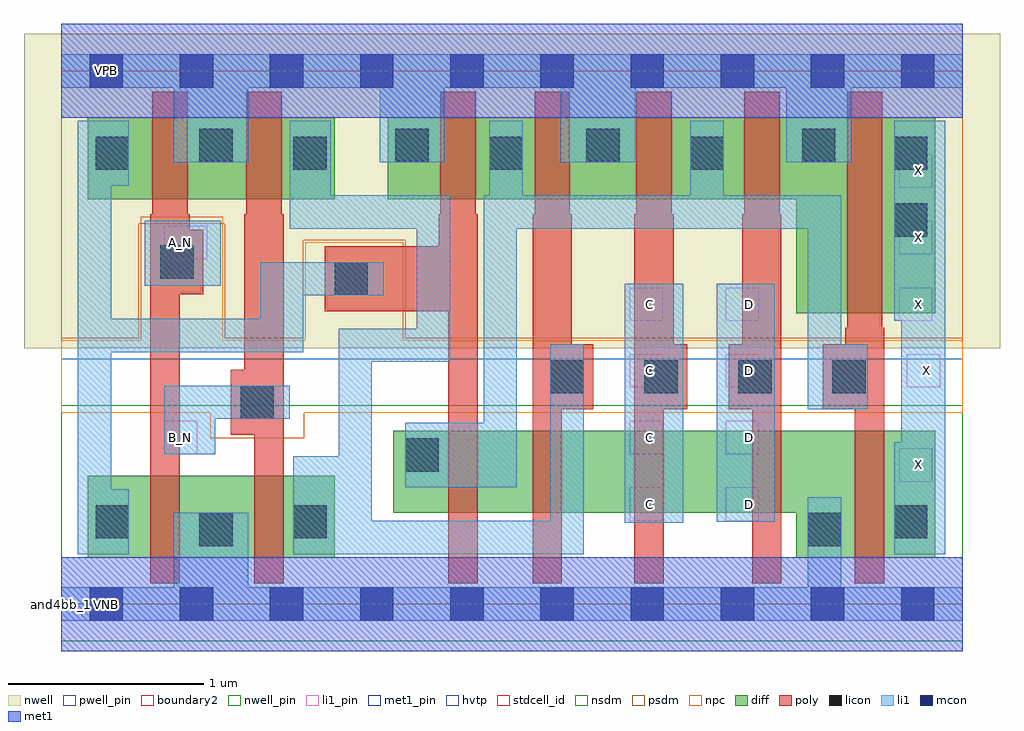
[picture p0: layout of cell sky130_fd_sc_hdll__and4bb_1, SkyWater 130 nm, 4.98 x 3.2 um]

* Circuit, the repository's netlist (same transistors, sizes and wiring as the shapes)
* Copyright 2020 The SkyWater PDK Authors
*
* Licensed under the Apache License, Version 2.0 (the "License");
* you may not use this file except in compliance with the License.
* You may obtain a copy of the License at
*
*     https://www.apache.org/licenses/LICENSE-2.0
*
* Unless required by applicable law or agreed to in writing, software
* distributed under the License is distributed on an "AS IS" BASIS,
* WITHOUT WARRANTIES OR CONDITIONS OF ANY KIND, either express or implied.
* See the License for the specific language governing permissions and
* limitations under the License.
*
* SPDX-License-Identifier: Apache-2.0

.SUBCKT sky130_fd_sc_hdll__and4bb_1 A_N B_N C D VGND VNB VPB VPWR X
*.PININFO A_N:I B_N:I C:I D:I VGND:I VNB:I VPB:I VPWR:I X:O
MMP0 y A VPWR VPB sky130_fd_pr__pfet_01v8_hvt m=1 w=0.42U l=0.18U mult=1 sa=0.265
+ sb=0.265 sd=0.28 area=0.063 perim=1.14
MMP1 y B VPWR VPB sky130_fd_pr__pfet_01v8_hvt m=1 w=0.42U l=0.18U mult=1 sa=0.265
+ sb=0.265 sd=0.28 area=0.063 perim=1.14
MMP2 y C VPWR VPB sky130_fd_pr__pfet_01v8_hvt m=1 w=0.42U l=0.18U mult=1 sa=0.265
+ sb=0.265 sd=0.28 area=0.063 perim=1.14
MMP3 y D VPWR VPB sky130_fd_pr__pfet_01v8_hvt m=1 w=0.42U l=0.18U mult=1 sa=0.265
+ sb=0.265 sd=0.28 area=0.063 perim=1.14
MMIP0 A A_N VPWR VPB sky130_fd_pr__pfet_01v8_hvt m=1 w=0.42U l=0.18U mult=1 sa=0.265
+ sb=0.265 sd=0.28 area=0.063 perim=1.14
MMIP1 B B_N VPWR VPB sky130_fd_pr__pfet_01v8_hvt m=1 w=0.42U l=0.18U mult=1 sa=0.265
+ sb=0.265 sd=0.28 area=0.063 perim=1.14
MMIP2 X y VPWR VPB sky130_fd_pr__pfet_01v8_hvt m=1 w=1.0U l=0.18U mult=1 sa=0.265
+ sb=0.265 sd=0.28 area=0.063 perim=1.14
MMN0 y A sndA VNB sky130_fd_pr__nfet_01v8 m=1 w=0.42U l=0.15U mult=1 sa=0.265 sb=0.265
+ sd=0.28 area=0.063 perim=1.14
MMN1 sndA B sndB VNB sky130_fd_pr__nfet_01v8 m=1 w=0.42U l=0.15U mult=1 sa=0.265
+ sb=0.265 sd=0.28 area=0.063 perim=1.14
MMN2 sndB C sndC VNB sky130_fd_pr__nfet_01v8 m=1 w=0.42U l=0.15U mult=1 sa=0.265
+ sb=0.265 sd=0.28 area=0.063 perim=1.14
MMN3 sndC D VGND VNB sky130_fd_pr__nfet_01v8 m=1 w=0.42U l=0.15U mult=1 sa=0.265
+ sb=0.265 sd=0.28 area=0.063 perim=1.14
MMIN0 A A_N VGND VNB sky130_fd_pr__nfet_01v8 m=1 w=0.42U l=0.15U mult=1 sa=0.265
+ sb=0.265 sd=0.28 area=0.063 perim=1.14
MMIN1 B B_N VGND VNB sky130_fd_pr__nfet_01v8 m=1 w=0.42U l=0.15U mult=1 sa=0.265
+ sb=0.265 sd=0.28 area=0.063 perim=1.14
MMIN2 X y VGND VNB sky130_fd_pr__nfet_01v8 m=1 w=0.65U l=0.15U mult=1 sa=0.265
+ sb=0.265 sd=0.28 area=0.063 perim=1.14
.ENDS sky130_fd_sc_hdll__and4bb_1

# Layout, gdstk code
import gdstk
lib = gdstk.Library(unit=1e-6, precision=1e-09)
def R(c, l, rs):  # rectangles x0, y0, x1, y1
    for r in rs: c.add(gdstk.rectangle(r[:2], r[2:], *l))
def A(c, l, x, y, w, h, nx, ny, dx, dy):  # array of equal rectangles
    R(c, l, [(x+i*dx, y+j*dy, x+i*dx+w, y+j*dy+h) for i in range(nx) for j in range(ny)])
def P(c, l, *ps):  # polygons
    for p in ps: c.add(gdstk.Polygon(p, *l))
nwell_pin = (64, 16)
nwell = (64, 20)
diff = (65, 20)
poly = (66, 20)
licon = (66, 44)
li1_pin = (67, 16)
li1 = (67, 20)
mcon = (67, 44)
met1_pin = (68, 16)
met1 = (68, 20)
hvtp = (78, 44)
stdcell_id = (81, 4)
nsdm = (93, 44)
psdm = (94, 20)
npc = (95, 20)
pwell_pin = (122, 16)
boundary2 = (236, 0)

sky130_fd_sc_hdll__and4b = lib.new_cell('sky130_fd_sc_hdll__and4bb_1')
R(sky130_fd_sc_hdll__and4b, nwell_pin, [(0.145,2.635,0.315,2.805)])
R(sky130_fd_sc_hdll__and4b, nwell, [(-0.19,1.305,4.79,2.91)])
R(sky130_fd_sc_hdll__and4b, diff, [(0.135,0.235,1.395,0.655), (0.135,2.065,1.395,2.485)])
P(sky130_fd_sc_hdll__and4b, diff, [(4.46,2.485),(1.665,2.485),(1.665,2.065),(3.75,2.065),(3.75,1.485),(4.46,1.485)],
  [(4.46,0.885),(1.695,0.885),(1.695,0.465),(3.75,0.465),(3.75,0.235),(4.46,0.235)])
P(sky130_fd_sc_hdll__and4b, poly, [(0.725,1.91),(0.655,1.91),(0.655,1.99),(0.645,1.99),(0.645,2.615),(0.465,2.615),(0.465,1.99),(0.455,1.99),(0.455,0.105),(0.605,0.105),(0.605,1.58),(0.725,1.58)],
  [(1.135,1.99),(1.125,1.99),(1.125,2.615),(0.945,2.615),(0.945,1.99),(0.935,1.99),(0.935,1.195),(0.865,1.195),(0.865,0.865),(0.985,0.865),(0.985,0.105),(1.135,0.105)],
  [(2.125,1.99),(2.115,1.99),(2.115,2.615),(1.935,2.615),(1.935,1.99),(1.925,1.99),(1.925,1.825),(1.345,1.825),(1.345,1.495),(1.975,1.495),(1.975,0.105),(2.125,0.105)],
  [(2.715,1.325),(2.605,1.325),(2.605,1.99),(2.595,1.99),(2.595,2.615),(2.415,2.615),(2.415,1.99),(2.405,1.99),(2.405,0.105),(2.555,0.105),(2.555,0.995),(2.715,0.995)],
  [(3.195,1.325),(3.125,1.325),(3.125,1.99),(3.115,1.99),(3.115,2.615),(2.935,2.615),(2.935,1.99),(2.925,1.99),(2.925,0.105),(3.075,0.105),(3.075,0.995),(3.195,0.995)],
  [(3.675,1.99),(3.665,1.99),(3.665,2.615),(3.485,2.615),(3.485,1.99),(3.475,1.99),(3.475,1.325),(3.405,1.325),(3.405,0.995),(3.525,0.995),(3.525,0.105),(3.675,0.105)],
  [(4.2,1.41),(4.19,1.41),(4.19,2.615),(4.01,2.615),(4.01,1.41),(4,1.41),(4,1.325),(3.885,1.325),(3.885,0.995),(4.05,0.995),(4.05,0.105),(4.2,0.105)])
A(sky130_fd_sc_hdll__and4b, licon, 2.495, 1.075, 0.17, 0.17, 4, 1, 0.48, 0)
R(sky130_fd_sc_hdll__and4b, licon, [(0.705,0.295,0.875,0.465), (3.81,0.295,3.98,0.465), (0.175,0.335,0.345,0.505), (1.185,0.335,1.355,0.505), (4.25,0.335,4.42,0.505), (1.755,0.675,1.925,0.845), (0.915,0.945,1.085,1.115), (1.395,1.575,1.565,1.745), (0.505,1.66,0.675,1.83), (4.25,1.875,4.42,2.045), (0.175,2.215,0.345,2.385), (1.185,2.215,1.355,2.385), (2.185,2.215,2.355,2.385), (3.21,2.215,3.38,2.385), (4.25,2.215,4.42,2.385), (0.705,2.255,0.875,2.425), (1.705,2.255,1.875,2.425), (2.68,2.255,2.85,2.425), (3.78,2.255,3.95,2.425)])
A(sky130_fd_sc_hdll__and4b, li1_pin, 2.9, 0.425, 0.17, 0.17, 1, 4, 0, 0.34)
A(sky130_fd_sc_hdll__and4b, li1_pin, 3.39, 0.425, 0.17, 0.17, 1, 4, 0, 0.34)
A(sky130_fd_sc_hdll__and4b, li1_pin, 4.275, 1.445, 0.17, 0.17, 1, 3, 0, 0.34)
R(sky130_fd_sc_hdll__and4b, li1_pin, [(4.275,0.625,4.445,0.795), (0.525,0.765,0.695,0.935), (4.315,1.105,4.485,1.275), (0.525,1.76,0.745,1.93)])
R(sky130_fd_sc_hdll__and4b, li1, [(2.875,0.415,3.175,1.635), (3.345,0.42,3.64,1.635), (0.425,1.625,0.815,1.955)])
P(sky130_fd_sc_hdll__and4b, li1, [(4.6,0.085),(3.98,0.085),(3.98,0.545),(3.81,0.545),(3.81,0.085),(0.955,0.085),(0.955,0.465),(0.575,0.465),(0.575,0.085),(0,0.085),(0,-0.085),(4.6,-0.085)],
  [(4.6,2.805),(0,2.805),(0,2.635),(0.575,2.635),(0.575,2.255),(0.955,2.255),(0.955,2.635),(1.625,2.635),(1.625,2.255),(1.955,2.255),(1.955,2.635),(2.55,2.635),(2.55,2.255),(2.93,2.255),(2.93,2.635),(3.7,2.635),(3.7,2.255),(4.03,2.255),(4.03,2.635),(4.6,2.635)],
  [(1.165,1.115),(0.525,1.115),(0.525,0.765),(0.785,0.765),(0.785,0.945),(1.165,0.945)],
  [(1.645,1.745),(1.015,1.745),(1.015,1.455),(0.255,1.455),(0.255,2.135),(0.345,2.135),(0.345,2.465),(0.085,2.465),(0.085,0.255),(0.345,0.255),(0.345,0.585),(0.255,0.585),(0.255,1.285),(1.235,1.285),(1.235,1.575),(1.645,1.575)],
  [(2.665,1.325),(2.495,1.325),(2.495,0.425),(1.585,0.425),(1.585,1.235),(1.985,1.235),(1.985,2.085),(1.375,2.085),(1.375,2.465),(1.165,2.465),(1.165,1.915),(1.815,1.915),(1.815,1.405),(1.415,1.405),(1.415,0.755),(1.185,0.755),(1.185,0.255),(2.665,0.255)],
  [(4.51,2.465),(4.25,2.465),(4.25,1.445),(4.285,1.445),(4.285,0.825),(4.25,0.825),(4.25,0.255),(4.51,0.255)],
  [(4.115,1.325),(3.98,1.325),(3.98,2.085),(3.38,2.085),(3.38,2.465),(3.21,2.465),(3.21,2.085),(2.355,2.085),(2.355,2.465),(2.185,2.465),(2.185,2.085),(2.155,2.085),(2.155,0.925),(1.755,0.925),(1.755,0.595),(2.325,0.595),(2.325,1.915),(3.81,1.915),(3.81,0.995),(4.115,0.995)])
A(sky130_fd_sc_hdll__and4b, mcon, 0.145, -0.085, 0.17, 0.17, 10, 2, 0.46, 2.72)
R(sky130_fd_sc_hdll__and4b, met1_pin, [(0.145,-0.085,0.315,0.085), (0.145,2.635,0.315,2.805)])
R(sky130_fd_sc_hdll__and4b, met1, [(0,-0.24,4.6,0.24), (0,2.48,4.6,2.96)])
R(sky130_fd_sc_hdll__and4b, hvtp, [(0,1.25,4.6,2.72)])
R(sky130_fd_sc_hdll__and4b, stdcell_id, [(0,0,4.6,2.72)])
R(sky130_fd_sc_hdll__and4b, nsdm, [(0,-0.19,4.6,1.015)])
P(sky130_fd_sc_hdll__and4b, psdm, [(4.6,2.91),(0,2.91),(0,1.355),(0.395,1.355),(0.395,1.94),(0.835,1.94),(0.835,1.355),(1.235,1.355),(1.235,1.855),(1.755,1.855),(1.755,1.355),(4.6,1.355)])
P(sky130_fd_sc_hdll__and4b, npc, [(4.6,1.345),(1.745,1.345),(1.745,1.845),(1.245,1.845),(1.245,1.345),(0.825,1.345),(0.825,1.975),(0.405,1.975),(0.405,1.345),(0,1.345),(0,0.975),(0.76,0.975),(0.76,0.845),(1.24,0.845),(1.24,0.975),(4.6,0.975)])
R(sky130_fd_sc_hdll__and4b, pwell_pin, [(0.145,-0.085,0.315,0.085)])
R(sky130_fd_sc_hdll__and4b, boundary2, [(0,0,4.6,2.72)])
sky130_fd_sc_hdll__and4b.add(gdstk.Label('VNB', (0.23,0), layer=64, texttype=59))
sky130_fd_sc_hdll__and4b.add(gdstk.Label('VPB', (0.23,2.72), layer=64, texttype=5))
sky130_fd_sc_hdll__and4b.add(gdstk.Label('VGND', (0.23,0), layer=68, texttype=5))
sky130_fd_sc_hdll__and4b.add(gdstk.Label('VPWR', (0.23,2.72), layer=68, texttype=5))
sky130_fd_sc_hdll__and4b.add(gdstk.Label('A_N', (0.61,1.845), layer=67, texttype=5))
sky130_fd_sc_hdll__and4b.add(gdstk.Label('D', (3.51,0.51), layer=67, texttype=5))
sky130_fd_sc_hdll__and4b.add(gdstk.Label('D', (3.51,0.85), layer=67, texttype=5))
sky130_fd_sc_hdll__and4b.add(gdstk.Label('D', (3.51,1.19), layer=67, texttype=5))
sky130_fd_sc_hdll__and4b.add(gdstk.Label('X', (4.375,0.71), layer=67, texttype=5))
sky130_fd_sc_hdll__and4b.add(gdstk.Label('X', (4.415,1.19), layer=67, texttype=5))
sky130_fd_sc_hdll__and4b.add(gdstk.Label('X', (4.375,1.53), layer=67, texttype=5))
sky130_fd_sc_hdll__and4b.add(gdstk.Label('X', (4.375,1.87), layer=67, texttype=5))
sky130_fd_sc_hdll__and4b.add(gdstk.Label('X', (4.375,2.21), layer=67, texttype=5))
sky130_fd_sc_hdll__and4b.add(gdstk.Label('C', (3,0.85), layer=67, texttype=5))
sky130_fd_sc_hdll__and4b.add(gdstk.Label('C', (3,1.19), layer=67, texttype=5))
sky130_fd_sc_hdll__and4b.add(gdstk.Label('C', (3,0.51), layer=67, texttype=5))
sky130_fd_sc_hdll__and4b.add(gdstk.Label('B_N', (0.61,0.85), layer=67, texttype=5))
sky130_fd_sc_hdll__and4b.add(gdstk.Label('C', (3,1.53), layer=67, texttype=5))
sky130_fd_sc_hdll__and4b.add(gdstk.Label('D', (3.51,1.53), layer=67, texttype=5))
sky130_fd_sc_hdll__and4b.add(gdstk.Label('and4bb_1', (0,0), layer=83, texttype=44))

lib.write_gds('sky130_fd_sc_hdll__and4bb_1.gds')
